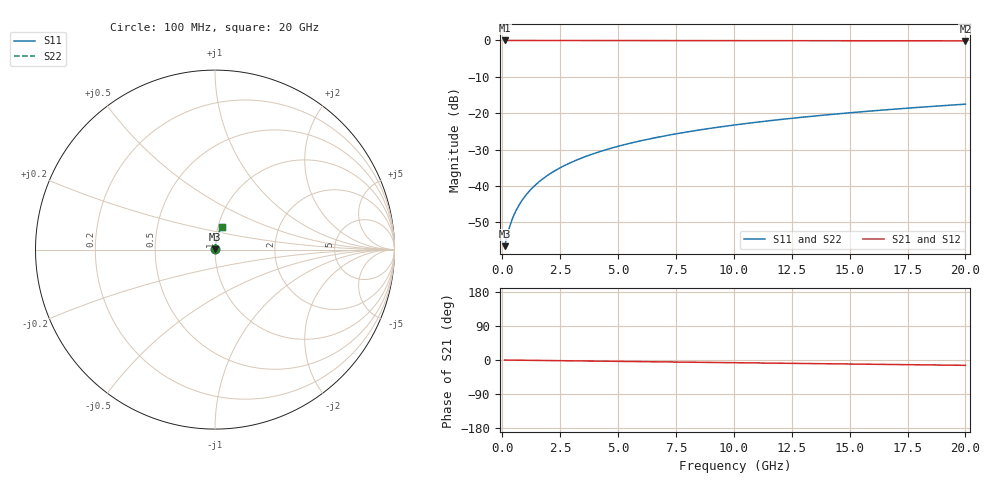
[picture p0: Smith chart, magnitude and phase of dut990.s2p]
! Touchstone file exported from HFSS 2026.1.0
!  File:  C:/ffzhzh/LocalFiles/Ansys_Project_Files/temp_train_TMRDL_990_1783159361_55132.aedt
!  Generated:  06:03:53 PM Jul  4, 2026
!  Design:  TMRDL
!  Project:  temp_train_TMRDL_990_1783159361_55132
! Variables:
!  h_bsmrdl = 2um
!  h_ox = 20um
!  h_rdl = 5um
!  h_sub = 80um
!  h_tmrdl = 3.7um
!  h_tsv = 80um
!  h_via = 3um
!  l_bsmrdl = 300um
!  l_sub = 587.03um
!  l_tmrdl = 187.03um
!  m_sub = 200um
!  pitch = 34.41um
!  r_tsv = 6um
!  s_tmrdl = 10um
!  w_bsmrdl = 18um
!  w_sub = 500um
!  w_tmrdl = 16.45um
!  x_tsv_center1 = 195.255um
!  x_tsv_center2 = 513.255um
!  x_tsv_center3 = 716.735um
!  x_tsv_center4 = 1034.735um
!  x_tsv_center5 = 1238.215um
!  x_tsv_center6 = 1556.215um
# GHz S MA R 50.000000
! Terminal data exported
! Port[1] = TM_RDL1_1_T1
! Port[2] = TM_RDL1_1_T2
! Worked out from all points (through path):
!   200 points, 100 MHz to 20 GHz, reference 50 ohm
!   highest |S21| = -0.01 dB at 100 MHz (marker M1); lowest = -0.1 dB at 20 GHz (marker M2)
!   group delay of S21, straight-line fit = 1.95 ps
!   lowest |S11| = -56.5 dB at 100 MHz (marker M3), VSWR 1.00, Z = 50.1 + j0.078 ohm
!   |S11| at or under -10 dB: start of sweep to end of sweep
!   |S22| runs from -56.5 to -17.5 dB; largest |S21 - S12| = 2.5e-15
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0.1  0.001489 31.5  0.9987 -0.1  0.9987 -0.1  0.001489 31.5
! Gamma 0 0 0 0
! Port Impedance 50 0 50 0
0.2  0.002023 49.4  0.9987 -0.2  0.9987 -0.2  0.002023 49.4
0.3  0.002651 58.8  0.9986 -0.2  0.9986 -0.2  0.002651 58.8
0.4  0.003305 64.5  0.9986 -0.3  0.9986 -0.3  0.003305 64.5
0.5  0.003968 68.3  0.9985 -0.4  0.9985 -0.4  0.003968 68.3
0.6  0.004637 71.0  0.9985 -0.4  0.9985 -0.4  0.004637 71.0
0.8  0.005989 74.7  0.9985 -0.6  0.9985 -0.6  0.005989 74.7
1.1  0.008044 77.9  0.9984 -0.8  0.9984 -0.8  0.008044 77.9
1.3  0.009426 79.3  0.9984 -0.9  0.9984 -0.9  0.009426 79.3
1.6  0.01151 80.7  0.9983 -1.2  0.9983 -1.2  0.01151 80.7
2.1  0.01499 81.9  0.9982 -1.5  0.9982 -1.5  0.01499 81.9
2.7  0.01918 82.6  0.998 -2.0  0.998 -2.0  0.01918 82.6
3.5  0.02474 82.9  0.9977 -2.5  0.9977 -2.5  0.02474 82.9
4.2  0.02959 82.8  0.9974 -3.0  0.9974 -3.0  0.02959 82.8
5  0.03509 82.6  0.9971 -3.6  0.9971 -3.6  0.03509 82.6
5.9  0.04124 82.2  0.9966 -4.2  0.9966 -4.2  0.04124 82.2
6.8  0.04734 81.8  0.9961 -4.9  0.9961 -4.9  0.04734 81.8
8.3  0.05741 80.9  0.9952 -5.9  0.9952 -5.9  0.05741 80.9
10.1  0.06936 79.9  0.994 -7.2  0.994 -7.2  0.06936 79.8
13.4  0.09095 77.8  0.9916 -9.5  0.9916 -9.5  0.09095 77.8
16.7  0.1122 75.8  0.9889 -11.8  0.9889 -11.8  0.1122 75.8
20  0.1331 73.7  0.9859 -14.1  0.9859 -14.1  0.1331 73.7
